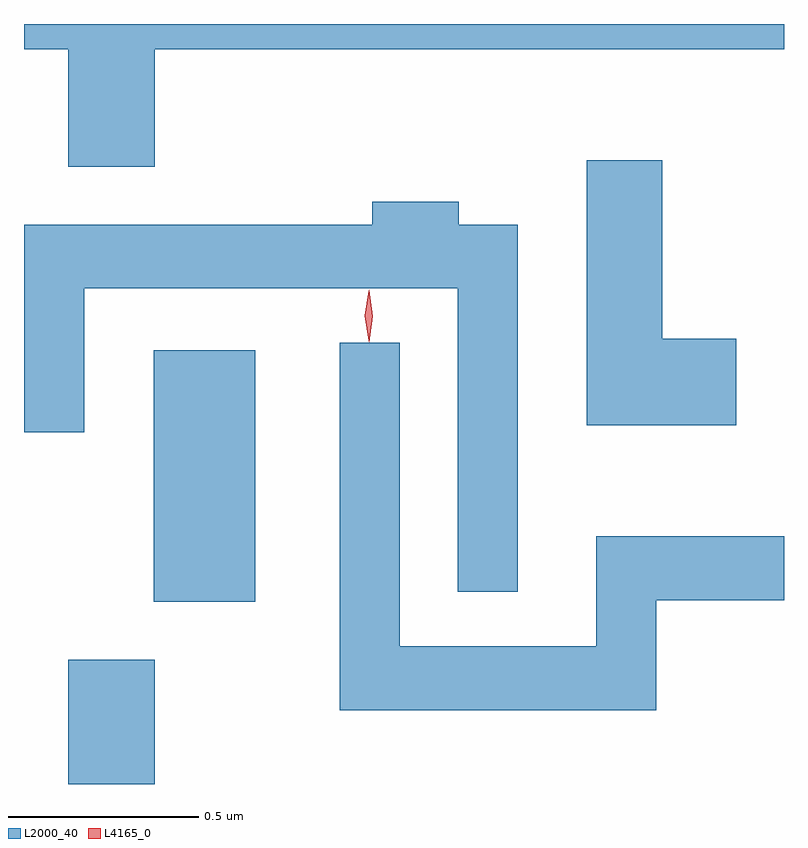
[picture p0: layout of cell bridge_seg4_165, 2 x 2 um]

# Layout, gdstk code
import gdstk
lib = gdstk.Library(unit=1e-6, precision=1e-09)
def R(c, l, rs):  # rectangles x0, y0, x1, y1
    for r in rs: c.add(gdstk.rectangle(r[:2], r[2:], *l))
def P(c, l, *ps):  # polygons
    for p in ps: c.add(gdstk.Polygon(p, *l))
L2000_40 = (2000, 40)
L4165_0 = (4165, 0)

bridge_seg4_165 = lib.new_cell('bridge_seg4_165')
R(bridge_seg4_165, L2000_40, [(950.971,1306.122,951.199,1306.449), (951.196,1306.601,951.464,1307.264)])
P(bridge_seg4_165, L2000_40, [(951.199,1308.056),(952.855,1308.056),(952.855,1308.122),(950.855,1308.122),(950.855,1308.056),(950.971,1308.056),(950.971,1307.746),(951.199,1307.746)],
  [(952.729,1307.294),(952.534,1307.294),(952.534,1307.764),(952.336,1307.764),(952.336,1307.066),(952.729,1307.066)],
  [(952.154,1307.594),(951.999,1307.594),(951.999,1307.654),(951.771,1307.654),(951.771,1307.594),(950.856,1307.594),(950.856,1307.048),(951.014,1307.048),(951.014,1307.426),(951.996,1307.426),(951.996,1306.628),(952.154,1306.628)],
  [(952.519,1306.606),(952.855,1306.606),(952.855,1306.774),(952.361,1306.774),(952.361,1306.484),(951.844,1306.484),(951.844,1307.283),(951.686,1307.283),(951.686,1306.316),(952.519,1306.316)])
P(bridge_seg4_165, L4165_0, [(951.763,1307.284),(951.763,1307.284),(951.753,1307.353),(951.763,1307.422),(951.763,1307.423),(951.764,1307.422),(951.773,1307.353),(951.764,1307.284)],
  [(951.762,1307.287),(951.762,1307.288),(951.752,1307.354),(951.762,1307.42),(951.762,1307.42),(951.763,1307.42),(951.772,1307.354),(951.763,1307.288)])

lib.write_gds('bridge_seg4_165.gds')
